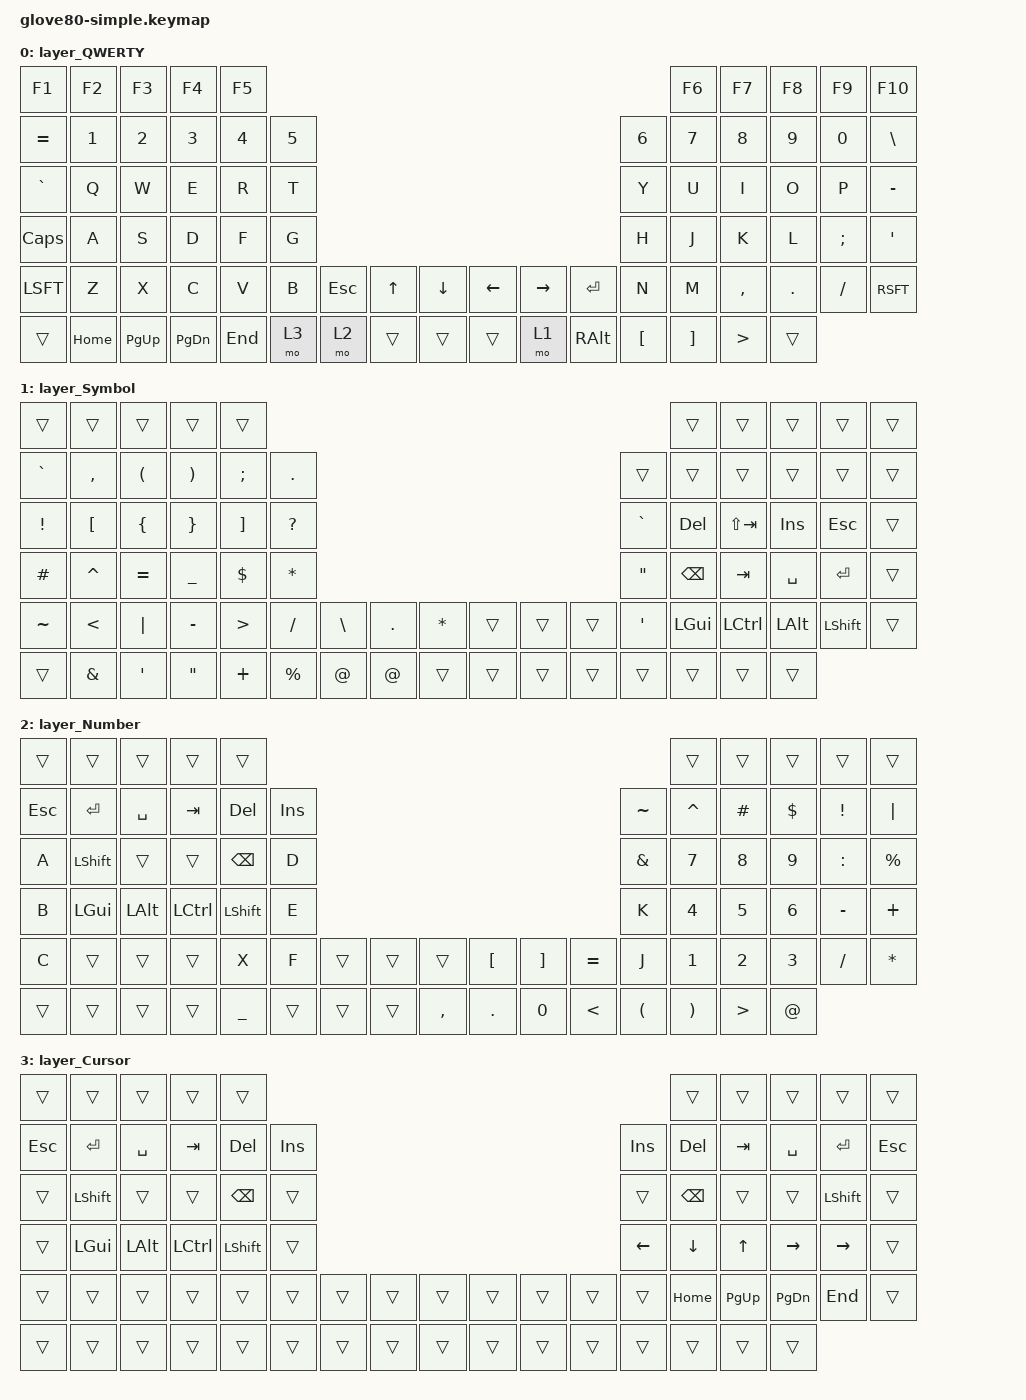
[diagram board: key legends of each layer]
/*
 * Simplified Glove80 Keymap for keymap-drawer visualization
 * Layers: QWERTY, Symbol, Number, Cursor (Navigation/Browser)
 * Note: Magic layer removed - only contains transparent keys
 */

#include <behaviors.dtsi>
#include <dt-bindings/zmk/keys.h>

/ {
    keymap {
        compatible = "zmk,keymap";

        // Layer 0: QWERTY
        layer_QWERTY {
            bindings = <
                &kp F1    &kp F2    &kp F3    &kp F4    &kp F5                                                                                    &kp F6     &kp F7    &kp F8     &kp F9    &kp F10
                &kp EQUAL &kp N1    &kp N2    &kp N3    &kp N4    &kp N5                                                                  &kp N6    &kp N7     &kp N8    &kp N9     &kp N0    &kp BSLH
                &kp GRAVE &kp Q     &kp W     &kp E     &kp R     &kp T                                                                   &kp Y     &kp U      &kp I     &kp O      &kp P     &kp MINUS
                &kp CAPS  &kp A     &kp S     &kp D     &kp F     &kp G                                                                   &kp H     &kp J      &kp K     &kp L      &kp SEMI  &kp SQT
                &kp LSFT  &kp Z     &kp X     &kp C     &kp V     &kp B     &kp ESC   &kp UP    &kp DOWN  &kp LEFT  &kp RIGHT  &kp ENTER &kp N     &kp M      &kp COMMA &kp DOT    &kp FSLH  &kp RSFT
                &trans    &kp HOME  &kp PG_UP &kp PG_DN &kp END   &mo 3     &mo 2     &trans    &trans    &trans    &mo 1      &kp RALT  &kp LBKT  &kp RBKT   &kp GT    &trans
            >;
        };

        // Layer 1: Symbol
        layer_Symbol {
            bindings = <
                &trans        &trans        &trans        &trans        &trans                                                                                          &trans        &trans        &trans        &trans        &trans
                &kp GRAVE     &kp COMMA     &kp LPAR      &kp RPAR      &kp SEMI      &kp DOT                                                                   &trans        &trans        &trans        &trans        &trans        &trans
                &kp EXCL      &kp LBKT      &kp LBRC      &kp RBRC      &kp RBKT      &kp QMARK                                                                 &kp GRAVE     &kp DEL       &kp LS(TAB)   &kp INS       &kp ESC       &trans
                &kp HASH      &kp CARET     &kp EQUAL     &kp UNDER     &kp DLLR      &kp STAR                                                                  &kp DQT       &kp BSPC      &kp TAB       &kp SPACE     &kp ENTER     &trans
                &kp TILDE     &kp LT        &kp PIPE      &kp MINUS     &kp GT        &kp FSLH      &kp BSLH      &kp DOT   &kp STAR  &trans    &trans    &trans        &kp SQT       &kp LGUI      &kp LCTRL     &kp LALT      &kp LSHFT     &trans
                &trans        &kp AMPS      &kp SQT       &kp DQT       &kp PLUS                    &kp PRCNT     &kp AT    &kp AT    &trans    &trans    &trans                      &trans        &trans        &trans        &trans        &trans
            >;
        };

        // Layer 2: Number
        layer_Number {
            bindings = <
                &trans    &trans    &trans    &trans    &trans                                                                                          &trans        &trans        &trans        &trans        &trans
                &kp ESC   &kp RET   &kp SPACE &kp TAB   &kp DEL   &kp INS                                                                       &kp TILDE     &kp CARET     &kp HASH      &kp DLLR      &kp EXCL      &kp PIPE
                &kp A     &kp LSHFT &trans    &trans    &kp BSPC  &kp D                                                                         &kp AMPS      &kp N7        &kp N8        &kp N9        &kp COLON     &kp PRCNT
                &kp B     &kp LGUI  &kp LALT  &kp LCTRL &kp LSHFT &kp E                                                                         &kp K         &kp N4        &kp N5        &kp N6        &kp MINUS     &kp PLUS
                &kp C     &trans    &trans    &trans    &kp X     &kp F     &trans    &trans    &trans    &kp LBKT      &kp RBKT  &kp EQUAL   &kp J         &kp N1        &kp N2        &kp N3        &kp FSLH      &kp STAR
                &trans    &trans    &trans    &trans    &kp UNDER           &trans    &trans    &trans    &kp COMMA     &kp DOT   &kp N0                    &kp LT        &kp LPAR      &kp RPAR      &kp GT        &kp AT
            >;
        };

        // Layer 3: Cursor/Navigation (Browser)
        layer_Cursor {
            bindings = <
                &trans    &trans    &trans    &trans    &trans                                                                                          &trans        &trans        &trans        &trans        &trans
                &kp ESC   &kp RET   &kp SPACE &kp TAB   &kp DEL   &kp INS                                                                       &kp INS       &kp DEL       &kp TAB       &kp SPACE     &kp RET       &kp ESC
                &trans    &kp LSHFT &trans    &trans    &kp BSPC  &trans                                                                        &trans        &kp BSPC      &trans        &trans        &kp LSHFT     &trans
                &trans    &kp LGUI  &kp LALT  &kp LCTRL &kp LSHFT &trans                                                                        &kp LEFT      &kp DOWN      &kp UP        &kp RIGHT     &kp RIGHT     &trans
                &trans    &trans    &trans    &trans    &trans    &trans    &trans    &trans    &trans    &trans        &trans    &trans        &trans        &kp HOME      &kp PG_UP     &kp PG_DN     &kp END       &trans
                &trans    &trans    &trans    &trans    &trans              &trans    &trans    &trans    &trans        &trans    &trans                      &trans        &trans        &trans        &trans        &trans
            >;
        };

    };
};
